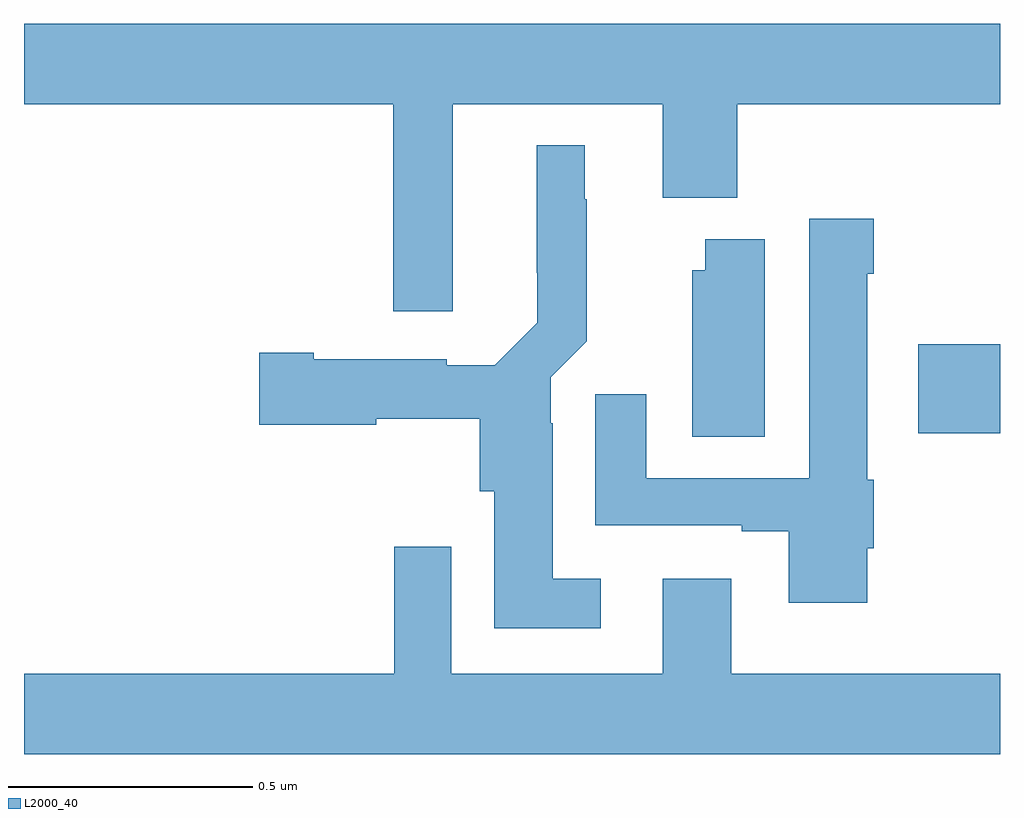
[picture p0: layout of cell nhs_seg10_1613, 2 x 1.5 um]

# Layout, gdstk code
import gdstk
lib = gdstk.Library(unit=1e-6, precision=1e-09)
def R(c, l, rs):  # rectangles x0, y0, x1, y1
    for r in rs: c.add(gdstk.rectangle(r[:2], r[2:], *l))
def P(c, l, *ps):  # polygons
    for p in ps: c.add(gdstk.Polygon(p, *l))
L2000_40 = (2000, 40)

nhs_seg10_1613 = lib.new_cell('nhs_seg10_1613')
R(nhs_seg10_1613, L2000_40, [(131.832,1323.617,132,1323.8)])
P(nhs_seg10_1613, L2000_40, [(130.879,1324.292),(131.309,1324.292),(131.309,1324.1),(131.462,1324.1),(131.462,1324.292),(132,1324.292),(132,1324.456),(130,1324.456),(130,1324.292),(130.757,1324.292),(130.757,1323.867),(130.879,1323.867)],
  [(131.182,1323.319),(131.083,1323.319),(131.083,1323.638),(131.079,1323.638),(131.079,1323.732),(131.153,1323.806),(131.153,1324.097),(131.149,1324.097),(131.149,1324.207),(131.051,1324.207),(131.051,1323.946),(131.052,1323.946),(131.052,1323.844),(130.965,1323.757),(130.866,1323.757),(130.866,1323.769),(130.594,1323.769),(130.594,1323.782),(130.482,1323.782),(130.482,1323.635),(130.722,1323.635),(130.722,1323.647),(130.934,1323.647),(130.934,1323.498),(130.964,1323.498),(130.964,1323.218),(131.182,1323.218)],
  [(131.728,1323.382),(131.741,1323.382),(131.741,1323.522),(131.728,1323.522),(131.728,1323.944),(131.741,1323.944),(131.741,1324.057),(131.609,1324.057),(131.609,1323.525),(131.275,1323.525),(131.275,1323.697),(131.171,1323.697),(131.171,1323.429),(131.471,1323.429),(131.471,1323.417),(131.567,1323.417),(131.567,1323.27),(131.728,1323.27)],
  [(131.518,1324.015),(131.396,1324.015),(131.396,1323.951),(131.369,1323.951),(131.369,1323.61),(131.518,1323.61)],
  [(132,1323.124),(131.449,1323.124),(131.449,1323.319),(131.309,1323.319),(131.309,1323.124),(130.875,1323.124),(130.875,1323.385),(130.759,1323.385),(130.759,1323.124),(130,1323.124),(130,1322.96),(132,1322.96)])

lib.write_gds('nhs_seg10_1613.gds')
